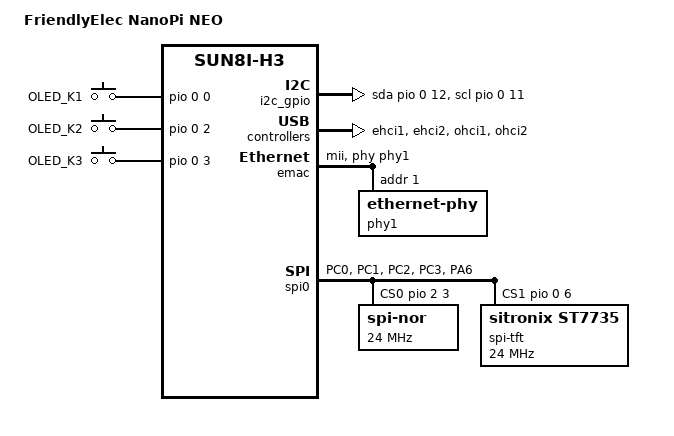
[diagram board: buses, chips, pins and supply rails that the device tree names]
/*
 * Copyright (C) 2016 James Pettigrew <james@innovum.com.au>
 *
 * This file is dual-licensed: you can use it either under the terms
 * of the GPL or the X11 license, at your option. Note that this dual
 * licensing only applies to this file, and not this project as a
 * whole.
 *
 *  a) This file is free software; you can redistribute it and/or
 *     modify it under the terms of the GNU General Public License as
 *     published by the Free Software Foundation; either version 2 of the
 *     License, or (at your option) any later version.
 *
 *     This file is distributed in the hope that it will be useful,
 *     but WITHOUT ANY WARRANTY; without even the implied warranty of
 *     MERCHANTABILITY or FITNESS FOR A PARTICULAR PURPOSE.  See the
 *     GNU General Public License for more details.
 *
 * Or, alternatively,
 *
 *  b) Permission is hereby granted, free of charge, to any person
 *     obtaining a copy of this software and associated documentation
 *     files (the "Software"), to deal in the Software without
 *     restriction, including without limitation the rights to use,
 *     copy, modify, merge, publish, distribute, sublicense, and/or
 *     sell copies of the Software, and to permit persons to whom the
 *     Software is furnished to do so, subject to the following
 *     conditions:
 *
 *     The above copyright notice and this permission notice shall be
 *     included in all copies or substantial portions of the Software.
 *
 *     THE SOFTWARE IS PROVIDED "AS IS", WITHOUT WARRANTY OF ANY KIND,
 *     EXPRESS OR IMPLIED, INCLUDING BUT NOT LIMITED TO THE WARRANTIES
 *     OF MERCHANTABILITY, FITNESS FOR A PARTICULAR PURPOSE AND
 *     NONINFRINGEMENT. IN NO EVENT SHALL THE AUTHORS OR COPYRIGHT
 *     HOLDERS BE LIABLE FOR ANY CLAIM, DAMAGES OR OTHER LIABILITY,
 *     WHETHER IN AN ACTION OF CONTRACT, TORT OR OTHERWISE, ARISING
 *     FROM, OUT OF OR IN CONNECTION WITH THE SOFTWARE OR THE USE OR
 *     OTHER DEALINGS IN THE SOFTWARE.
 */

#include "sun8i-h3-nanopi.dtsi"

/ {
	model = "FriendlyElec NanoPi NEO";
	compatible = "friendlyarm,nanopi-neo", "allwinner,sun8i-h3";

	aliases {
		i2c0 = &i2c_gpio;
	};

	gpio_keys {
		compatible = "gpio-keys";
		pinctrl-names = "default";
		pinctrl-0 = <&sw_npi_neo_oled>;

		sw1 {
			label = "OLED_K1";
			gpios = <&pio 0 0 GPIO_ACTIVE_HIGH>;
		};

		sw2 {
			label = "OLED_K2";
			gpios = <&pio 0 2 GPIO_ACTIVE_HIGH>;
		};

		sw3 {
			label = "OLED_K3";
			gpios = <&pio 0 3 GPIO_ACTIVE_HIGH>;
		};
	};

	i2c_gpio: i2c-gpio@0 {
		compatible = "i2c-gpio";
		gpios = <&pio 0 12 GPIO_ACTIVE_HIGH>,
			<&pio 0 11 GPIO_ACTIVE_HIGH>;
		i2c-gpio,delay-us = <1>;
		status = "okay";
	};
};

&pio {
	sw_npi_neo_oled: key_pins@0 {
		allwinner,pins = "PA0", "PA2", "PA3";
		allwinner,function = "gpio_in";
		allwinner,drive = <SUN4I_PINCTRL_10_MA>;
		allwinner,pull = <SUN4I_PINCTRL_NO_PULL>;
	};

	spi0_pins: spi0@0 {
		allwinner,pins = "PC0", "PC1", "PC2";
		allwinner,function = "spi0";
		allwinner,drive = <SUN4I_PINCTRL_10_MA>;
		allwinner,pull = <SUN4I_PINCTRL_NO_PULL>;
	};

	spi0_cs_pins: spi0_cs_pins {
		allwinner,pins = "PC3", "PA6";
		allwinner,function = "gpio_out";
		allwinner,drive = <SUN4I_PINCTRL_10_MA>;
		allwinner,pull = <SUN4I_PINCTRL_NO_PULL>;
	};
};

&ehci1 {
    status = "okay";
};

&ehci2 {
    status = "okay";
};

&ohci1 {
    status = "okay";
};

&ohci2 {
    status = "okay";
};

&emac {
	phy = <&phy1>;
	phy-mode = "mii";
	allwinner,use-internal-phy;
	allwinner,leds-active-low;
	status = "okay";
	phy1: ethernet-phy@1 {
		reg = <1>;
	};
};

&spi0 {
	pinctrl-names = "default";
	pinctrl-0 = <&spi0_pins>, <&spi0_cs_pins>;
	cs-gpios = <&pio 2 3 GPIO_ACTIVE_HIGH>, <&pio 0 6 GPIO_ACTIVE_HIGH>, <0>, <0>;
	status = "okay";

	spi-nor@0 {
		compatible = "jedec,spi-nor";
		spi-max-frequency = <24000000>;
		reg = <0>;
	};

	spi-tft@1 {
		compatible = "sitronix,st7735";
		spi-max-frequency = <24000000>;
		reg = <1>;
	};
};

